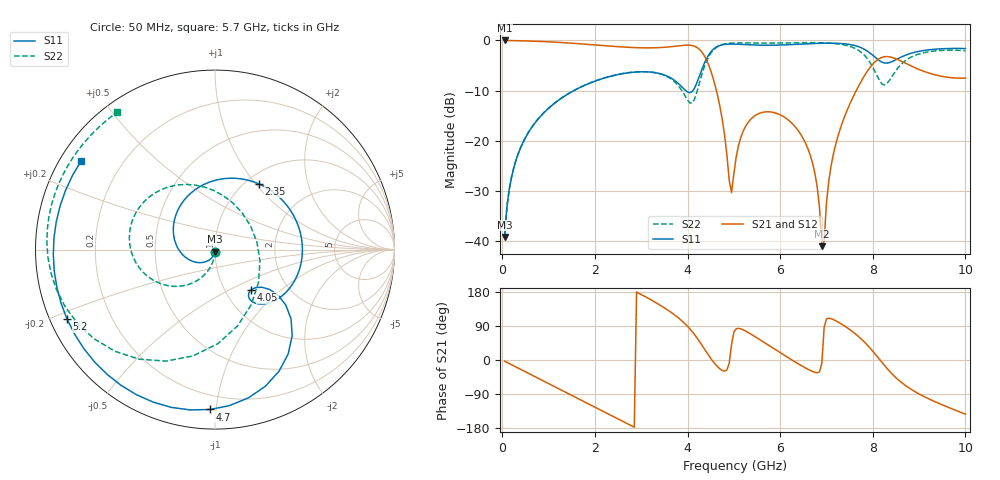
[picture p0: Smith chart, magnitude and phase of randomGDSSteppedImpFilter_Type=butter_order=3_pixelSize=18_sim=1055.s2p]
! freq	dB(S11)	phase(S11)	dB(S12)	phase(S12)
!  dB(S21)	phase(S21)	dB(S22)	phase(S22)
!S-par simulation data
#  GHz  S  DB  R 50
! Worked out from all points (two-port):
!   200 points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, 50 MHz to 10 GHz, reference 50 ohm
!   highest |S21| = -0.01 dB at 50 MHz (marker M1); lowest = -41.0 dB at 6.9 GHz (marker M2)
!   |S21| within 3 dB of the highest: start of sweep to 4.359 GHz
!   lowest |S11| = -39.2 dB at 50 MHz (marker M3), VSWR 1.02, Z = 49.9 - j1.09 ohm
!   |S11| at or under -10 dB: start of sweep to 1.548 GHz; 3.961 GHz to 4.114 GHz (153.3 MHz wide, 3.8 % of centre)
!   |S22| runs from -39.2 to -0.4 dB; largest |S21 - S12| = 0
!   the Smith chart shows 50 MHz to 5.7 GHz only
!   S11 on the Smith chart (normalised r, x): 50 MHz: 1.00, -0.02; 2.35 GHz: 1.14, +1.04; 4.05 GHz: 1.32, -0.65; 4.7 GHz: 0.11, -0.96; 5.2 GHz: 0.05, -0.22; 5.7 GHz: 0.06, +0.30
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0.05  -39.19 -94.2  -0.01 -3.2  -0.01 -3.2  -39.16 -91.0
0.2  -27.26 -108.7  -0.03 -12.5  -0.03 -12.5  -27.20 -96.1
0.5  -19.40 -137.3  -0.09 -31.2  -0.09 -31.2  -19.34 -106.1
1.75  -9.07 108.1  -0.72 -108.7  -0.72 -108.7  -9.04 -147.1
2.35  -7.12 56.2  -1.15 -145.9  -1.15 -145.9  -7.09 -169.1
3.4  -6.61 -28.0  -1.43 145.3  -1.43 145.3  -6.64 139.4
4.05  -10.42 -48.1  -0.96 82.2  -0.96 82.2  -12.46 33.7
4.4  -3.81 -48.2  -3.70 22.5  -3.70 22.5  -4.37 -101.6
4.7  -1.00 -91.8  -13.21 -23.5  -13.21 -23.5  -0.98 -159.1
4.95  -0.73 -124.7  -30.34 40.5  -30.34 40.5  -0.53 172.9
5.05  -0.75 -136.9  -23.28 82.2  -23.28 82.2  -0.50 164.5
5.2  -0.81 -154.8  -18.12 79.8  -18.12 79.8  -0.50 153.6
5.7  -0.97 146.6  -14.23 42.7  -14.23 42.7  -0.54 125.4
6.2  -0.85 89.8  -16.05 3.9  -16.05 3.9  -0.48 100.9
6.7  -0.62 40.0  -24.47 -30.4  -24.47 -30.4  -0.44 75.0
6.9  -0.56 22.6  -41.02 -9.0  -41.02 -9.0  -0.47 63.4
7.15  -0.56 2.5  -22.64 106.6  -22.64 106.6  -0.60 47.1
7.65  -1.12 -34.0  -9.86 66.4  -9.86 66.4  -1.75 0.7
8  -2.97 -54.1  -4.72 23.2  -4.72 23.2  -5.36 -62.9
8.35  -4.44 -52.5  -3.25 -28.1  -3.25 -28.1  -8.08 166.7
8.9  -2.38 -63.7  -5.39 -82.7  -5.39 -82.7  -3.02 69.3
10  -1.62 -102.7  -7.52 -143.0  -7.52 -143.0  -2.06 -5.4
